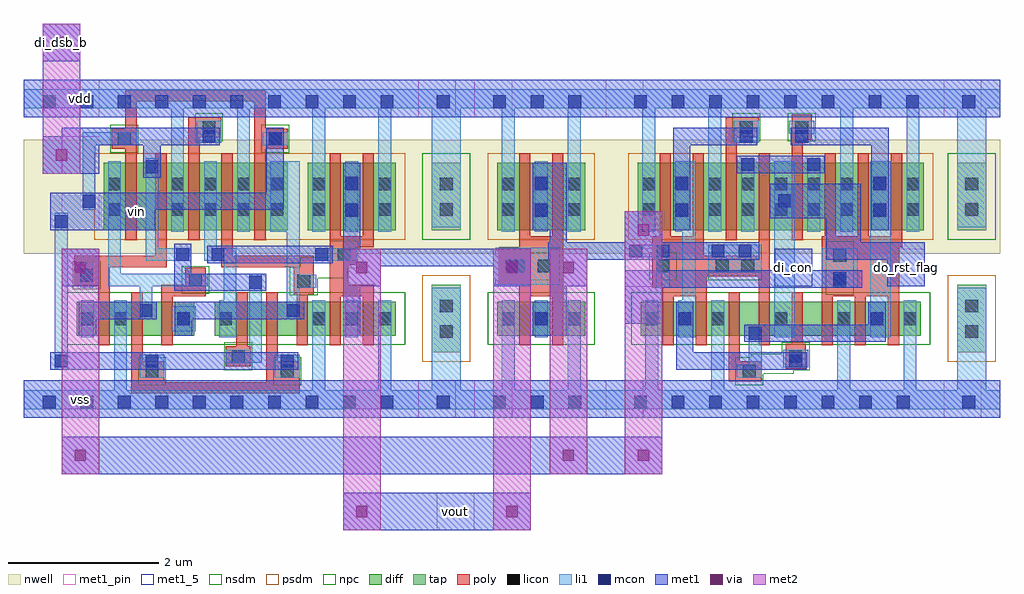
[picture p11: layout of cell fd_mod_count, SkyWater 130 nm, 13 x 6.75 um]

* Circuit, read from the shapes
.subckt fd_mod_count di_con di_dsb_b do_rst_flag vdd vin vout vss
XM1 vss sc_xnor2_0/a sc_dff_r_2/sky130_fd_pr__nfet_01v8_sc_dff_r_m3_10/D vss sky130_fd_pr__nfet_01v8 w=0.45 l=0.15
XM2 n1 vin vss vss sky130_fd_pr__nfet_01v8 w=0.45 l=0.15
XM3 sc_dff_r_2/sky130_fd_pr__nfet_01v8_sc_dff_r_m5_8/D sc_dff_r_2/sky130_fd_pr__nfet_01v8_sc_dff_r_m3_10/D n1 vss sky130_fd_pr__nfet_01v8 w=0.45 l=0.15
XM4 sc_dff_r_2/sky130_fd_pr__nfet_01v8_sc_dff_r_m8_5/D di_dsb_b sc_dff_r_2/sky130_fd_pr__nfet_01v8_sc_dff_r_m13_0/D vss sky130_fd_pr__nfet_01v8 w=0.45 l=0.15
XM5 sc_dff_r_2/sky130_fd_pr__nfet_01v8_sc_dff_r_m9_4/D vin sc_dff_r_2/sky130_fd_pr__nfet_01v8_sc_dff_r_m8_5/D vss sky130_fd_pr__nfet_01v8 w=0.45 l=0.15
XM6 vss sc_dff_r_2/sky130_fd_pr__nfet_01v8_sc_dff_r_m5_8/D sc_dff_r_2/sky130_fd_pr__nfet_01v8_sc_dff_r_m9_4/D vss sky130_fd_pr__nfet_01v8 w=0.45 l=0.15
XM7 vout sc_dff_r_2/sky130_fd_pr__nfet_01v8_sc_dff_r_m13_0/D vss vss sky130_fd_pr__nfet_01v8 w=0.45 l=0.15 m=2
XM8 sc_xnor2_0/a vout vss vss sky130_fd_pr__nfet_01v8 w=0.45 l=0.15 m=2
XM9 sc_xnor2_0/sky130_fd_pr__nfet_01v8_scc_inv_m2_2/D0 sc_xnor2_0/a vss vss sky130_fd_pr__nfet_01v8 w=0.45 l=0.15 m=2
XM10 sc_xnor2_0/sky130_fd_pr__nfet_01v8_sc_xnor2_m8_4/D sc_xnor2_0/sky130_fd_pr__nfet_01v8_scc_inv_m2_0/D0 vss vss sky130_fd_pr__nfet_01v8 w=0.45 l=0.15
XM11 do_rst_flag sc_xnor2_0/a sc_xnor2_0/sky130_fd_pr__nfet_01v8_sc_xnor2_m8_4/D vss sky130_fd_pr__nfet_01v8 w=0.45 l=0.15
XM12 sc_xnor2_0/sky130_fd_pr__nfet_01v8_sc_xnor2_m7_5/D sc_xnor2_0/sky130_fd_pr__nfet_01v8_scc_inv_m2_2/D0 do_rst_flag vss sky130_fd_pr__nfet_01v8 w=0.45 l=0.15
XM13 vss di_con sc_xnor2_0/sky130_fd_pr__nfet_01v8_sc_xnor2_m7_5/D vss sky130_fd_pr__nfet_01v8 w=0.45 l=0.15
XM14 sc_xnor2_0/sky130_fd_pr__nfet_01v8_scc_inv_m2_0/D0 di_con vss vss sky130_fd_pr__nfet_01v8 w=0.45 l=0.15 m=2
XM15 sc_dff_r_2/sky130_fd_pr__pfet_01v8_sc_dff_r_m1_12/D vin sc_dff_r_2/sky130_fd_pr__nfet_01v8_sc_dff_r_m3_10/D vdd sky130_fd_pr__pfet_01v8 w=0.9 l=0.15
XM16 vdd sc_xnor2_0/a sc_dff_r_2/sky130_fd_pr__pfet_01v8_sc_dff_r_m1_12/D vdd sky130_fd_pr__pfet_01v8 w=0.9 l=0.15
XM17 sc_dff_r_2/sky130_fd_pr__nfet_01v8_sc_dff_r_m13_0/D di_dsb_b vdd vdd sky130_fd_pr__pfet_01v8 w=0.9 l=0.15
XM18 vdd sc_dff_r_2/sky130_fd_pr__nfet_01v8_sc_dff_r_m5_8/D sc_dff_r_2/sky130_fd_pr__nfet_01v8_sc_dff_r_m13_0/D vdd sky130_fd_pr__pfet_01v8 w=0.9 l=0.15
XM19 sc_dff_r_2/sky130_fd_pr__nfet_01v8_sc_dff_r_m5_8/D vin vdd vdd sky130_fd_pr__pfet_01v8 w=0.9 l=0.15
XM20 vout sc_dff_r_2/sky130_fd_pr__nfet_01v8_sc_dff_r_m13_0/D vdd vdd sky130_fd_pr__pfet_01v8 w=0.9 l=0.15 m=2
XM21 sc_xnor2_0/a vout vdd vdd sky130_fd_pr__pfet_01v8 w=0.9 l=0.15 m=2
XM22 sc_xnor2_0/sky130_fd_pr__nfet_01v8_scc_inv_m2_2/D0 sc_xnor2_0/a vdd vdd sky130_fd_pr__pfet_01v8 w=0.9 l=0.15 m=2
XM23 sc_xnor2_0/sky130_fd_pr__pfet_01v8_sc_xnor2_m1_11/D sc_xnor2_0/sky130_fd_pr__nfet_01v8_scc_inv_m2_2/D0 vdd vdd sky130_fd_pr__pfet_01v8 w=0.9 l=0.15
XM24 do_rst_flag sc_xnor2_0/a sc_xnor2_0/sky130_fd_pr__pfet_01v8_sc_xnor2_m1_11/D vdd sky130_fd_pr__pfet_01v8 w=0.9 l=0.15
XM25 sc_xnor2_0/sky130_fd_pr__pfet_01v8_sc_xnor2_m1_11/D sc_xnor2_0/sky130_fd_pr__nfet_01v8_scc_inv_m2_0/D0 do_rst_flag vdd sky130_fd_pr__pfet_01v8 w=0.9 l=0.15
XM26 vdd di_con sc_xnor2_0/sky130_fd_pr__pfet_01v8_sc_xnor2_m1_11/D vdd sky130_fd_pr__pfet_01v8 w=0.9 l=0.15
XM27 sc_xnor2_0/sky130_fd_pr__nfet_01v8_scc_inv_m2_0/D0 di_con vdd vdd sky130_fd_pr__pfet_01v8 w=0.9 l=0.15 m=2
.ends

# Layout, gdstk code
from math import pi, radians
import gdstk
lib = gdstk.Library(unit=1e-6, precision=1e-09)
def R(c, l, rs):  # rectangles x0, y0, x1, y1
    for r in rs: c.add(gdstk.rectangle(r[:2], r[2:], *l))
def A(c, l, x, y, w, h, nx, ny, dx, dy):  # array of equal rectangles
    R(c, l, [(x+i*dx, y+j*dy, x+i*dx+w, y+j*dy+h) for i in range(nx) for j in range(ny)])
nwell = (64, 20)
diff = (65, 20)
tap = (65, 44)
poly = (66, 20)
licon = (66, 44)
li1 = (67, 20)
mcon = (67, 44)
met1_5 = (68, 5)
met1_pin = (68, 16)
met1 = (68, 20)
via = (68, 44)
met2 = (69, 20)
nsdm = (93, 44)
psdm = (94, 20)
npc = (95, 20)

sky130_fd_pr__nfet_01v8_ = lib.new_cell('sky130_fd_pr__nfet_01v8_scc_inv_m2')
R(sky130_fd_pr__nfet_01v8_, diff, [(7.265,-4.22,8.435,-3.77)])
R(sky130_fd_pr__nfet_01v8_, poly, [(7.555,-4.35,7.705,-3.695), (7.995,-4.35,8.145,-3.695), (7.555,-3.695,8.145,-3.545)])
A(sky130_fd_pr__nfet_01v8_, licon, 7.325, -4.08, 0.17, 0.17, 3, 1, 0.44, 0)
A(sky130_fd_pr__nfet_01v8_, li1, 7.325, -4.24, 0.17, 0.49, 3, 1, 0.44, 0)
R(sky130_fd_pr__nfet_01v8_, mcon, [(7.765,-4.08,7.935,-3.91)])
R(sky130_fd_pr__nfet_01v8_, met1, [(7.735,-4.22,7.965,-3.77)])
R(sky130_fd_pr__nfet_01v8_, nsdm, [(7.14,-4.345,8.56,-3.645)])
sky130_fd_pr__nfet_01v8_.add(gdstk.Label('D0', (7.85,-3.995), layer=67, texttype=5))
sky130_fd_pr__nfet_01v8_.add(gdstk.Label('S0', (7.41,-3.995), layer=67, texttype=5))
sky130_fd_pr__nfet_01v8_.add(gdstk.Label('D1', (7.85,-3.995), layer=67, texttype=5))
sky130_fd_pr__nfet_01v8_.add(gdstk.Label('S1', (8.29,-3.995), layer=67, texttype=5))

sky130_fd_pr__pfet_01v8_ = lib.new_cell('sky130_fd_pr__pfet_01v8_scc_inv_m1')
R(sky130_fd_pr__pfet_01v8_, nwell, [(6.85,-4.65,8.38,-3.13)])
R(sky130_fd_pr__pfet_01v8_, diff, [(7.03,-4.34,8.2,-3.44)])
R(sky130_fd_pr__pfet_01v8_, poly, [(7.32,-4.565,7.91,-4.415), (7.32,-4.415,7.47,-3.31), (7.76,-4.415,7.91,-3.31)])
A(sky130_fd_pr__pfet_01v8_, licon, 7.09, -4.145, 0.17, 0.17, 3, 2, 0.44, 0.34)
A(sky130_fd_pr__pfet_01v8_, li1, 7.09, -4.36, 0.17, 0.94, 3, 1, 0.44, 0)
R(sky130_fd_pr__pfet_01v8_, mcon, [(7.53,-4.155,7.7,-3.985), (7.53,-3.795,7.7,-3.625)])
R(sky130_fd_pr__pfet_01v8_, met1, [(7.5,-4.34,7.73,-3.44)])
R(sky130_fd_pr__pfet_01v8_, psdm, [(6.905,-4.465,8.325,-3.315)])
sky130_fd_pr__pfet_01v8_.add(gdstk.Label('D0', (7.615,-3.89), layer=67, texttype=5))
sky130_fd_pr__pfet_01v8_.add(gdstk.Label('S0', (7.175,-3.89), layer=67, texttype=5))
sky130_fd_pr__pfet_01v8_.add(gdstk.Label('D1', (7.615,-3.89), layer=67, texttype=5))
sky130_fd_pr__pfet_01v8_.add(gdstk.Label('S1', (8.055,-3.89), layer=67, texttype=5))

c_sky130_fd_pr__nfet_01v8_ = lib.new_cell('sky130_fd_pr__nfet_01v8_sc_xnor2_m8')
R(c_sky130_fd_pr__nfet_01v8_, diff, [(-0.325,-0.225,0.365,0.225)])
R(c_sky130_fd_pr__nfet_01v8_, poly, [(-0.075,-0.355,0.075,0.355)])
R(c_sky130_fd_pr__nfet_01v8_, licon, [(0.135,-0.085,0.305,0.085)])
R(c_sky130_fd_pr__nfet_01v8_, li1, [(0.135,-0.245,0.305,0.245)])
R(c_sky130_fd_pr__nfet_01v8_, nsdm, [(-0.45,-0.35,0.49,0.35)])
c_sky130_fd_pr__nfet_01v8_.add(gdstk.Label('D', (-0.22,0), layer=65, texttype=6))
c_sky130_fd_pr__nfet_01v8_.add(gdstk.Label('S', (0.22,0), layer=67, texttype=5))

c_sky130_fd_pr__nfet_01v8__ = lib.new_cell('sky130_fd_pr__nfet_01v8_sc_xnor2_m7')
R(c_sky130_fd_pr__nfet_01v8__, diff, [(-0.325,-0.225,0.365,0.225)])
R(c_sky130_fd_pr__nfet_01v8__, poly, [(-0.075,-0.355,0.075,0.355)])
R(c_sky130_fd_pr__nfet_01v8__, licon, [(0.135,-0.085,0.305,0.085)])
R(c_sky130_fd_pr__nfet_01v8__, li1, [(0.135,-0.245,0.305,0.245)])
R(c_sky130_fd_pr__nfet_01v8__, nsdm, [(-0.45,-0.35,0.49,0.35)])
c_sky130_fd_pr__nfet_01v8__.add(gdstk.Label('D', (-0.22,0), layer=65, texttype=6))
c_sky130_fd_pr__nfet_01v8__.add(gdstk.Label('S', (0.22,0), layer=67, texttype=5))

c_sky130_fd_pr__nfet_01v8___ = lib.new_cell('sky130_fd_pr__nfet_01v8_sc_xnor2_m6')
R(c_sky130_fd_pr__nfet_01v8___, diff, [(-0.365,-0.225,0.325,0.225)])
R(c_sky130_fd_pr__nfet_01v8___, poly, [(-0.075,-0.355,0.075,0.355)])
R(c_sky130_fd_pr__nfet_01v8___, licon, [(-0.305,-0.085,-0.135,0.085)])
R(c_sky130_fd_pr__nfet_01v8___, li1, [(-0.305,-0.245,-0.135,0.245)])
R(c_sky130_fd_pr__nfet_01v8___, nsdm, [(-0.49,-0.35,0.45,0.35)])
c_sky130_fd_pr__nfet_01v8___.add(gdstk.Label('D', (-0.22,0), layer=67, texttype=5))
c_sky130_fd_pr__nfet_01v8___.add(gdstk.Label('S', (0.22,0), layer=65, texttype=6))

c_sky130_fd_pr__nfet_01v8____ = lib.new_cell('sky130_fd_pr__nfet_01v8_sc_xnor2_m5')
R(c_sky130_fd_pr__nfet_01v8____, diff, [(-0.365,-0.225,0.325,0.225)])
R(c_sky130_fd_pr__nfet_01v8____, poly, [(-0.075,-0.355,0.075,0.355)])
R(c_sky130_fd_pr__nfet_01v8____, licon, [(-0.305,-0.085,-0.135,0.085)])
R(c_sky130_fd_pr__nfet_01v8____, li1, [(-0.305,-0.245,-0.135,0.245)])
R(c_sky130_fd_pr__nfet_01v8____, nsdm, [(-0.49,-0.35,0.45,0.35)])
c_sky130_fd_pr__nfet_01v8____.add(gdstk.Label('D', (-0.22,0), layer=67, texttype=5))
c_sky130_fd_pr__nfet_01v8____.add(gdstk.Label('S', (0.22,0), layer=65, texttype=6))

c_sky130_fd_pr__pfet_01v8_ = lib.new_cell('sky130_fd_pr__pfet_01v8_sc_xnor2_m4')
R(c_sky130_fd_pr__pfet_01v8_, nwell, [(-0.545,-0.76,0.545,0.76)])
R(c_sky130_fd_pr__pfet_01v8_, diff, [(-0.365,-0.45,0.365,0.45)])
R(c_sky130_fd_pr__pfet_01v8_, poly, [(-0.075,-0.58,0.075,0.58)])
R(c_sky130_fd_pr__pfet_01v8_, licon, [(-0.305,-0.255,-0.135,-0.085), (0.135,-0.255,0.305,-0.085), (-0.305,0.085,-0.135,0.255), (0.135,0.085,0.305,0.255)])
R(c_sky130_fd_pr__pfet_01v8_, li1, [(-0.305,-0.47,-0.135,0.47), (0.135,-0.47,0.305,0.47)])
R(c_sky130_fd_pr__pfet_01v8_, psdm, [(-0.49,-0.575,0.49,0.575)])
c_sky130_fd_pr__pfet_01v8_.add(gdstk.Label('D', (-0.22,0), layer=67, texttype=5))
c_sky130_fd_pr__pfet_01v8_.add(gdstk.Label('S', (0.22,0), layer=67, texttype=5))

c_sky130_fd_pr__pfet_01v8__ = lib.new_cell('sky130_fd_pr__pfet_01v8_sc_xnor2_m3')
R(c_sky130_fd_pr__pfet_01v8__, nwell, [(-0.545,-0.76,0.545,0.76)])
R(c_sky130_fd_pr__pfet_01v8__, diff, [(-0.365,-0.45,0.365,0.45)])
R(c_sky130_fd_pr__pfet_01v8__, poly, [(-0.075,-0.58,0.075,0.58)])
R(c_sky130_fd_pr__pfet_01v8__, licon, [(-0.305,-0.255,-0.135,-0.085), (0.135,-0.255,0.305,-0.085), (-0.305,0.085,-0.135,0.255), (0.135,0.085,0.305,0.255)])
R(c_sky130_fd_pr__pfet_01v8__, li1, [(-0.305,-0.47,-0.135,0.47), (0.135,-0.47,0.305,0.47)])
R(c_sky130_fd_pr__pfet_01v8__, psdm, [(-0.49,-0.575,0.49,0.575)])
c_sky130_fd_pr__pfet_01v8__.add(gdstk.Label('D', (-0.22,0), layer=67, texttype=5))
c_sky130_fd_pr__pfet_01v8__.add(gdstk.Label('S', (0.22,0), layer=67, texttype=5))

c_sky130_fd_pr__pfet_01v8___ = lib.new_cell('sky130_fd_pr__pfet_01v8_sc_xnor2_m2')
R(c_sky130_fd_pr__pfet_01v8___, nwell, [(-0.545,-0.76,0.545,0.76)])
R(c_sky130_fd_pr__pfet_01v8___, diff, [(-0.365,-0.45,0.365,0.45)])
R(c_sky130_fd_pr__pfet_01v8___, poly, [(-0.075,-0.58,0.075,0.58)])
R(c_sky130_fd_pr__pfet_01v8___, licon, [(-0.305,-0.255,-0.135,-0.085), (0.135,-0.255,0.305,-0.085), (-0.305,0.085,-0.135,0.255), (0.135,0.085,0.305,0.255)])
R(c_sky130_fd_pr__pfet_01v8___, li1, [(-0.305,-0.47,-0.135,0.47), (0.135,-0.47,0.305,0.47)])
R(c_sky130_fd_pr__pfet_01v8___, psdm, [(-0.49,-0.575,0.49,0.575)])
c_sky130_fd_pr__pfet_01v8___.add(gdstk.Label('D', (-0.22,0), layer=67, texttype=5))
c_sky130_fd_pr__pfet_01v8___.add(gdstk.Label('S', (0.22,0), layer=67, texttype=5))

c_sky130_fd_pr__pfet_01v8____ = lib.new_cell('sky130_fd_pr__pfet_01v8_sc_xnor2_m1')
R(c_sky130_fd_pr__pfet_01v8____, nwell, [(-0.545,-0.76,0.545,0.76)])
R(c_sky130_fd_pr__pfet_01v8____, diff, [(-0.365,-0.45,0.365,0.45)])
R(c_sky130_fd_pr__pfet_01v8____, poly, [(-0.075,-0.58,0.075,0.58)])
R(c_sky130_fd_pr__pfet_01v8____, licon, [(-0.305,-0.255,-0.135,-0.085), (0.135,-0.255,0.305,-0.085), (-0.305,0.085,-0.135,0.255), (0.135,0.085,0.305,0.255)])
R(c_sky130_fd_pr__pfet_01v8____, li1, [(-0.305,-0.47,-0.135,0.47), (0.135,-0.47,0.305,0.47)])
R(c_sky130_fd_pr__pfet_01v8____, psdm, [(-0.49,-0.575,0.49,0.575)])
c_sky130_fd_pr__pfet_01v8____.add(gdstk.Label('D', (-0.22,0), layer=67, texttype=5))
c_sky130_fd_pr__pfet_01v8____.add(gdstk.Label('S', (0.22,0), layer=67, texttype=5))

sc_xnor2 = lib.new_cell('sc_xnor2')
R(sc_xnor2, nwell, [(0.5,-5.815,5,-4.295)])
R(sc_xnor2, poly, [(2.135,-7.515,2.575,-7.245), (2.895,-7.345,3.165,-7.015), (2.135,-7.245,2.285,-7.035), (3.375,-6.38,3.965,-6.23), (2.535,-6.325,2.685,-6.115), (1.12,-6.265,1.845,-6.115), (3.375,-6.23,4.405,-5.73), (1.12,-6.115,2.685,-5.845), (1.12,-5.845,1.805,-5.58), (2.535,-5.845,2.685,-5.635), (3.375,-5.73,4.005,-5.58), (2.095,-4.475,2.245,-4.265), (2.975,-4.475,3.125,-4.295), (2.975,-4.295,3.245,-3.965), (2.095,-4.265,2.535,-3.995)])
R(sc_xnor2, licon, [(2.325,-7.465,2.495,-7.295), (2.945,-7.265,3.115,-7.095), (3.53,-6.26,3.7,-6.09), (1.175,-6.065,1.345,-5.895), (1.965,-6.065,2.135,-5.895), (2.305,-6.065,2.475,-5.895), (3.53,-5.92,3.7,-5.75), (2.285,-4.215,2.455,-4.045), (3.025,-4.215,3.195,-4.045)])
R(sc_xnor2, li1, [(0.5,-7.885,5,-7.635), (1.025,-7.635,1.195,-6.925), (1.905,-7.635,2.075,-6.925), (3.585,-7.635,3.755,-6.925), (4.465,-7.635,4.635,-6.925), (2.245,-7.465,2.575,-7.295), (2.865,-7.33,3.195,-7.095), (2.405,-7.295,2.575,-6.79), (1.52,-6.925,1.695,-4.585), (2.745,-6.925,3.015,-4.585), (4.025,-6.925,4.295,-4.585), (1.17,-6.265,1.35,-5.865), (3.375,-6.265,3.855,-5.74), (1.865,-6.065,2.575,-5.695), (0.81,-5.865,1.35,-5.695), (2.305,-4.71,2.475,-4.54), (3.185,-4.71,3.355,-4.54), (0.985,-4.585,1.155,-3.875), (1.865,-4.585,2.035,-3.875), (3.625,-4.585,3.795,-3.875), (4.505,-4.585,4.675,-3.875), (2.205,-4.34,2.535,-4.045), (3.025,-4.34,3.195,-4.215), (2.945,-4.215,3.275,-4.045), (0.5,-3.875,5,-3.625)])
A(sc_xnor2, mcon, 0.875, -7.875, 0.17, 0.17, 8, 1, 0.5, 0)
A(sc_xnor2, mcon, 0.875, -3.875, 0.17, 0.17, 6, 1, 0.5, 0)
R(sc_xnor2, mcon, [(2.945,-7.33,3.115,-7.16), (2.405,-6.96,2.575,-6.79), (3.53,-6.235,3.7,-6.065), (0.815,-5.865,0.985,-5.695), (1.175,-5.865,1.345,-5.695), (1.91,-5.865,2.08,-5.695), (2.27,-5.865,2.44,-5.695), (2.795,-5.195,2.965,-5.025), (2.305,-4.71,2.475,-4.54), (3.185,-4.71,3.355,-4.54), (2.285,-4.34,2.455,-4.17), (3.025,-4.34,3.195,-4.17), (4,-3.875,4.17,-3.705), (4.5,-3.875,4.67,-3.705)])
R(sc_xnor2, met1_5, [(2.75,-6.25,3.25,-5.75)])
R(sc_xnor2, met1_pin, [(0.5,-8,1,-7.5), (0.75,-6.75,1.25,-6.25), (4.25,-6.25,4.75,-5.75), (0.75,-5.75,1.25,-5.25), (0.5,-4,1,-3.5)])
R(sc_xnor2, met1, [(0.5,-8,5,-7.5), (1.435,-7.36,3.175,-7.13), (1.435,-7.13,1.665,-6.905), (2.345,-6.99,4.225,-6.76), (0.75,-6.75,1.25,-6.265), (0.75,-6.265,3.915,-6.035), (4.25,-6.25,4.75,-5.895), (2.75,-6.035,3.25,-5.75), (0.75,-5.895,2.545,-5.665), (3.435,-5.895,4.75,-5.665), (0.75,-5.665,1.25,-5.25), (3.435,-5.665,3.895,-5.34), (2.685,-5.34,3.895,-4.88), (2.245,-4.74,3.415,-4.51), (1.395,-4.605,1.625,-4.37), (4.035,-4.605,4.265,-4.37), (1.395,-4.37,2.515,-4.14), (2.965,-4.37,4.265,-4.14), (0.5,-4,5,-3.5)])
R(sc_xnor2, npc, [(2.225,-7.565,2.595,-7.415), (2.225,-7.415,3.005,-7.365), (2.225,-7.365,3.215,-7.195), (2.435,-7.195,3.215,-7.145), (2.845,-7.145,3.215,-6.995), (3.43,-6.36,3.8,-5.65), (1.075,-6.165,1.445,-5.795), (1.865,-6.165,2.575,-5.795), (2.185,-4.315,2.555,-3.945), (2.925,-4.315,3.295,-3.945)])
sc_xnor2.add(gdstk.Reference(sky130_fd_pr__nfet_01v8_, (-3.74,-2.685)))
sc_xnor2.add(gdstk.Reference(sky130_fd_pr__pfet_01v8_, (-3.465,-1.165)))
sc_xnor2.add(gdstk.Reference(sky130_fd_pr__nfet_01v8_, (-6.3,-2.685)))
sc_xnor2.add(gdstk.Reference(sky130_fd_pr__pfet_01v8_, (-6.105,-1.165)))
sc_xnor2.add(gdstk.Reference(c_sky130_fd_pr__nfet_01v8_, (2.21,-6.68), rotation=pi))
sc_xnor2.add(gdstk.Reference(c_sky130_fd_pr__nfet_01v8__, (3.45,-6.68)))
sc_xnor2.add(gdstk.Reference(c_sky130_fd_pr__nfet_01v8___, (2.61,-6.68), rotation=pi))
sc_xnor2.add(gdstk.Reference(c_sky130_fd_pr__nfet_01v8____, (3.05,-6.68)))
sc_xnor2.add(gdstk.Reference(c_sky130_fd_pr__pfet_01v8_, (3.05,-5.055)))
sc_xnor2.add(gdstk.Reference(c_sky130_fd_pr__pfet_01v8__, (2.61,-5.055), rotation=pi))
sc_xnor2.add(gdstk.Reference(c_sky130_fd_pr__pfet_01v8___, (3.49,-5.055)))
sc_xnor2.add(gdstk.Reference(c_sky130_fd_pr__pfet_01v8____, (2.17,-5.055), rotation=pi))
sc_xnor2.add(gdstk.Label('b', (3,-6), layer=68, texttype=5))
sc_xnor2.add(gdstk.Label('vdd', (0.75,-3.75), layer=68, texttype=5))
sc_xnor2.add(gdstk.Label('vss', (0.75,-7.75), layer=68, texttype=5))
sc_xnor2.add(gdstk.Label('a', (1,-5.5), layer=68, texttype=5))
sc_xnor2.add(gdstk.Label('b', (1,-6.5), layer=68, texttype=5))
sc_xnor2.add(gdstk.Label('y', (4.5,-6), layer=68, texttype=5))

sc_not = lib.new_cell('sc_not')
R(sc_not, nwell, [(2.75,-3.815,4.5,-2.295)])
R(sc_not, poly, [(3.075,-4.23,3.935,-3.73)])
R(sc_not, licon, [(3.25,-4.065,3.42,-3.895), (3.59,-4.065,3.76,-3.895)])
R(sc_not, li1, [(2.75,-5.885,4.5,-5.635), (3.115,-5.635,3.285,-4.925), (3.995,-5.635,4.165,-4.925), (3.03,-4.225,3.885,-4.145), (3,-4.145,3.885,-3.815), (3.03,-3.815,3.885,-3.735), (3.115,-2.585,3.285,-1.875), (3.995,-2.585,4.165,-1.875), (2.75,-1.875,4.5,-1.625)])
A(sc_not, mcon, 3, -5.875, 0.17, 0.17, 3, 2, 0.5, 4)
R(sc_not, mcon, [(3.165,-4.065,3.335,-3.895)])
R(sc_not, met1_pin, [(2.75,-6,3.25,-5.5), (3,-4.25,3.5,-3.75), (3.75,-4.25,4.25,-3.75), (2.75,-2,3.25,-1.5)])
R(sc_not, met1, [(2.75,-6,4.5,-5.5), (3.75,-4.905,3.98,-4.25), (3,-4.25,3.5,-3.75), (3.75,-4.25,4.25,-3.75), (3.75,-3.75,3.98,-2.605), (2.75,-2,4.5,-1.5)])
R(sc_not, npc, [(3.15,-4.165,3.86,-3.795)])
sc_not.add(gdstk.Reference(sky130_fd_pr__pfet_01v8_, (-3.975,0.835)))
sc_not.add(gdstk.Reference(sky130_fd_pr__nfet_01v8_, (-4.21,-0.685)))
sc_not.add(gdstk.Label('vdd', (3,-1.75), layer=68, texttype=5))
sc_not.add(gdstk.Label('vss', (3,-5.75), layer=68, texttype=5))
sc_not.add(gdstk.Label('x', (3.25,-4), layer=68, texttype=5))
sc_not.add(gdstk.Label('y', (4,-4), layer=68, texttype=5))

c_sky130_fd_pr__nfet_01v8_____ = lib.new_cell('sky130_fd_pr__nfet_01v8_sc_dff_r_m13')
R(c_sky130_fd_pr__nfet_01v8_____, diff, [(-0.365,-0.225,0.325,0.225)])
R(c_sky130_fd_pr__nfet_01v8_____, poly, [(-0.075,-0.355,0.075,0.355)])
R(c_sky130_fd_pr__nfet_01v8_____, licon, [(-0.305,-0.085,-0.135,0.085)])
R(c_sky130_fd_pr__nfet_01v8_____, li1, [(-0.305,-0.245,-0.135,0.245)])
R(c_sky130_fd_pr__nfet_01v8_____, nsdm, [(-0.49,-0.35,0.45,0.35)])
c_sky130_fd_pr__nfet_01v8_____.add(gdstk.Label('D', (-0.22,0), layer=67, texttype=5))
c_sky130_fd_pr__nfet_01v8_____.add(gdstk.Label('S', (0.22,0), layer=65, texttype=6))

c_sky130_fd_pr__pfet_01v8_____ = lib.new_cell('sky130_fd_pr__pfet_01v8_sc_dff_r_m12')
R(c_sky130_fd_pr__pfet_01v8_____, nwell, [(-0.545,-0.76,0.545,0.76)])
R(c_sky130_fd_pr__pfet_01v8_____, diff, [(-0.365,-0.45,0.365,0.45)])
R(c_sky130_fd_pr__pfet_01v8_____, poly, [(-0.075,-0.58,0.075,0.58)])
R(c_sky130_fd_pr__pfet_01v8_____, licon, [(-0.305,-0.255,-0.135,-0.085), (0.135,-0.255,0.305,-0.085), (-0.305,0.085,-0.135,0.255), (0.135,0.085,0.305,0.255)])
R(c_sky130_fd_pr__pfet_01v8_____, li1, [(-0.305,-0.47,-0.135,0.47), (0.135,-0.47,0.305,0.47)])
R(c_sky130_fd_pr__pfet_01v8_____, psdm, [(-0.49,-0.575,0.49,0.575)])
c_sky130_fd_pr__pfet_01v8_____.add(gdstk.Label('D', (-0.22,0), layer=67, texttype=5))
c_sky130_fd_pr__pfet_01v8_____.add(gdstk.Label('S', (0.22,0), layer=67, texttype=5))

c_sky130_fd_pr__nfet_01v8______ = lib.new_cell('sky130_fd_pr__nfet_01v8_sc_dff_r_m9')
R(c_sky130_fd_pr__nfet_01v8______, diff, [(-0.325,-0.225,0.365,0.225)])
R(c_sky130_fd_pr__nfet_01v8______, poly, [(-0.075,-0.355,0.075,0.355)])
R(c_sky130_fd_pr__nfet_01v8______, licon, [(0.135,-0.085,0.305,0.085)])
R(c_sky130_fd_pr__nfet_01v8______, li1, [(0.135,-0.245,0.305,0.245)])
R(c_sky130_fd_pr__nfet_01v8______, nsdm, [(-0.45,-0.35,0.49,0.35)])
c_sky130_fd_pr__nfet_01v8______.add(gdstk.Label('D', (-0.22,0), layer=65, texttype=6))
c_sky130_fd_pr__nfet_01v8______.add(gdstk.Label('S', (0.22,0), layer=67, texttype=5))

c_sky130_fd_pr__nfet_01v8_______ = lib.new_cell('sky130_fd_pr__nfet_01v8_sc_dff_r_m8')
R(c_sky130_fd_pr__nfet_01v8_______, diff, [(-0.325,-0.225,0.325,0.225)])
R(c_sky130_fd_pr__nfet_01v8_______, poly, [(-0.075,-0.355,0.075,0.355)])
R(c_sky130_fd_pr__nfet_01v8_______, nsdm, [(-0.45,-0.35,0.45,0.35)])
c_sky130_fd_pr__nfet_01v8_______.add(gdstk.Label('D', (-0.22,0), layer=65, texttype=6))
c_sky130_fd_pr__nfet_01v8_______.add(gdstk.Label('S', (0.22,0), layer=65, texttype=6))

c_sky130_fd_pr__pfet_01v8______ = lib.new_cell('sky130_fd_pr__pfet_01v8_sc_dff_r_m7')
R(c_sky130_fd_pr__pfet_01v8______, nwell, [(-0.545,-0.76,0.545,0.76)])
R(c_sky130_fd_pr__pfet_01v8______, diff, [(-0.365,-0.45,0.365,0.45)])
R(c_sky130_fd_pr__pfet_01v8______, poly, [(-0.075,-0.58,0.075,0.58)])
R(c_sky130_fd_pr__pfet_01v8______, licon, [(-0.305,-0.255,-0.135,-0.085), (0.135,-0.255,0.305,-0.085), (-0.305,0.085,-0.135,0.255), (0.135,0.085,0.305,0.255)])
R(c_sky130_fd_pr__pfet_01v8______, li1, [(-0.305,-0.47,-0.135,0.47), (0.135,-0.47,0.305,0.47)])
R(c_sky130_fd_pr__pfet_01v8______, psdm, [(-0.49,-0.575,0.49,0.575)])
c_sky130_fd_pr__pfet_01v8______.add(gdstk.Label('D', (-0.22,0), layer=67, texttype=5))
c_sky130_fd_pr__pfet_01v8______.add(gdstk.Label('S', (0.22,0), layer=67, texttype=5))

c_sky130_fd_pr__nfet_01v8________ = lib.new_cell('sky130_fd_pr__nfet_01v8_sc_dff_r_m6')
R(c_sky130_fd_pr__nfet_01v8________, diff, [(-0.325,-0.225,0.365,0.225)])
R(c_sky130_fd_pr__nfet_01v8________, poly, [(-0.075,-0.355,0.075,0.355)])
R(c_sky130_fd_pr__nfet_01v8________, licon, [(0.135,-0.085,0.305,0.085)])
R(c_sky130_fd_pr__nfet_01v8________, li1, [(0.135,-0.245,0.305,0.245)])
R(c_sky130_fd_pr__nfet_01v8________, nsdm, [(-0.45,-0.35,0.49,0.35)])
c_sky130_fd_pr__nfet_01v8________.add(gdstk.Label('S', (0.22,0), layer=67, texttype=5))

c_sky130_fd_pr__nfet_01v8_________ = lib.new_cell('sky130_fd_pr__nfet_01v8_sc_dff_r_m5')
R(c_sky130_fd_pr__nfet_01v8_________, diff, [(-0.365,-0.225,0.325,0.225)])
R(c_sky130_fd_pr__nfet_01v8_________, poly, [(-0.075,-0.355,0.075,0.355)])
R(c_sky130_fd_pr__nfet_01v8_________, licon, [(-0.305,-0.085,-0.135,0.085)])
R(c_sky130_fd_pr__nfet_01v8_________, li1, [(-0.385,-0.165,-0.055,0.165)])
R(c_sky130_fd_pr__nfet_01v8_________, mcon, [(-0.305,-0.085,-0.135,0.085)])
R(c_sky130_fd_pr__nfet_01v8_________, met1, [(-0.335,-0.225,-0.105,0.225)])
R(c_sky130_fd_pr__nfet_01v8_________, nsdm, [(-0.49,-0.35,0.45,0.35)])
c_sky130_fd_pr__nfet_01v8_________.add(gdstk.Label('D', (-0.22,0), layer=67, texttype=5))

c_sky130_fd_pr__pfet_01v8_______ = lib.new_cell('sky130_fd_pr__pfet_01v8_sc_dff_r_m4')
R(c_sky130_fd_pr__pfet_01v8_______, nwell, [(-0.545,-0.76,0.545,0.76)])
R(c_sky130_fd_pr__pfet_01v8_______, diff, [(-0.365,-0.45,0.365,0.45)])
R(c_sky130_fd_pr__pfet_01v8_______, poly, [(-0.075,-0.58,0.075,0.58)])
R(c_sky130_fd_pr__pfet_01v8_______, licon, [(-0.305,-0.255,-0.135,-0.085), (0.135,-0.255,0.305,-0.085), (-0.305,0.085,-0.135,0.255), (0.135,0.085,0.305,0.255)])
R(c_sky130_fd_pr__pfet_01v8_______, li1, [(-0.305,-0.47,-0.135,0.47), (0.135,-0.47,0.305,0.47)])
R(c_sky130_fd_pr__pfet_01v8_______, psdm, [(-0.49,-0.575,0.49,0.575)])
c_sky130_fd_pr__pfet_01v8_______.add(gdstk.Label('D', (-0.22,0), layer=67, texttype=5))
c_sky130_fd_pr__pfet_01v8_______.add(gdstk.Label('S', (0.22,0), layer=67, texttype=5))

c_sky130_fd_pr__nfet_01v8__________ = lib.new_cell('sky130_fd_pr__nfet_01v8_sc_dff_r_m3')
R(c_sky130_fd_pr__nfet_01v8__________, diff, [(-0.365,-0.225,0.365,0.225)])
R(c_sky130_fd_pr__nfet_01v8__________, poly, [(-0.075,-0.355,0.075,0.355)])
R(c_sky130_fd_pr__nfet_01v8__________, licon, [(-0.305,-0.085,-0.135,0.085), (0.135,-0.085,0.305,0.085)])
R(c_sky130_fd_pr__nfet_01v8__________, li1, [(-0.305,-0.245,-0.135,0.245), (0.135,-0.245,0.305,0.245)])
R(c_sky130_fd_pr__nfet_01v8__________, mcon, [(-0.305,-0.085,-0.135,0.085)])
R(c_sky130_fd_pr__nfet_01v8__________, met1, [(-0.335,-0.225,-0.105,0.225)])
R(c_sky130_fd_pr__nfet_01v8__________, nsdm, [(-0.49,-0.35,0.49,0.35)])
c_sky130_fd_pr__nfet_01v8__________.add(gdstk.Label('D', (-0.22,0), layer=67, texttype=5))
c_sky130_fd_pr__nfet_01v8__________.add(gdstk.Label('S', (0.22,0), layer=67, texttype=5))

c_sky130_fd_pr__pfet_01v8________ = lib.new_cell('sky130_fd_pr__pfet_01v8_sc_dff_r_m2')
R(c_sky130_fd_pr__pfet_01v8________, nwell, [(-0.545,-0.76,0.505,0.76)])
R(c_sky130_fd_pr__pfet_01v8________, diff, [(-0.365,-0.45,0.325,0.45)])
R(c_sky130_fd_pr__pfet_01v8________, poly, [(-0.075,-0.58,0.075,0.58)])
R(c_sky130_fd_pr__pfet_01v8________, licon, [(-0.305,-0.255,-0.135,-0.085), (-0.305,0.085,-0.135,0.255)])
R(c_sky130_fd_pr__pfet_01v8________, li1, [(-0.305,-0.47,-0.135,0.47)])
R(c_sky130_fd_pr__pfet_01v8________, psdm, [(-0.49,-0.575,0.45,0.575)])
c_sky130_fd_pr__pfet_01v8________.add(gdstk.Label('D', (-0.22,0), layer=67, texttype=5))
c_sky130_fd_pr__pfet_01v8________.add(gdstk.Label('S', (0.22,0), layer=65, texttype=6))

c_sky130_fd_pr__pfet_01v8_________ = lib.new_cell('sky130_fd_pr__pfet_01v8_sc_dff_r_m1')
R(c_sky130_fd_pr__pfet_01v8_________, nwell, [(-0.505,-0.76,0.545,0.76)])
R(c_sky130_fd_pr__pfet_01v8_________, diff, [(-0.325,-0.45,0.365,0.45)])
R(c_sky130_fd_pr__pfet_01v8_________, poly, [(-0.075,-0.58,0.075,0.58)])
R(c_sky130_fd_pr__pfet_01v8_________, licon, [(0.135,-0.255,0.305,-0.085), (0.135,0.085,0.305,0.255)])
R(c_sky130_fd_pr__pfet_01v8_________, li1, [(0.135,-0.47,0.305,0.47)])
R(c_sky130_fd_pr__pfet_01v8_________, psdm, [(-0.45,-0.575,0.49,0.575)])
c_sky130_fd_pr__pfet_01v8_________.add(gdstk.Label('D', (-0.22,0), layer=65, texttype=6))
c_sky130_fd_pr__pfet_01v8_________.add(gdstk.Label('S', (0.22,0), layer=67, texttype=5))

sc_dff_r = lib.new_cell('sc_dff_r')
R(sc_dff_r, nwell, [(3.75,-7.815,9,-6.295)])
R(sc_dff_r, poly, [(5.18,-9.675,7.42,-9.525), (5.18,-9.525,5.62,-9.245), (6.98,-9.525,7.42,-9.245), (6.44,-9.315,6.77,-9.045), (5.18,-9.245,5.33,-9.035), (6.98,-9.245,7.13,-9.03), (6.58,-9.045,6.73,-9.035), (5.58,-8.38,6.17,-8.23), (7.34,-8.355,7.61,-7.995), (4.74,-8.325,4.89,-8.235), (4.42,-8.235,4.89,-7.995), (5.9,-8.23,6.17,-8), (7.82,-8.23,8.07,-7.96), (4.42,-7.995,5.65,-7.845), (6.38,-7.995,7.61,-7.845), (7.82,-7.96,8.18,-7.69), (5.5,-7.845,5.65,-7.635), (6.38,-7.845,6.53,-7.635), (5.1,-6.475,5.25,-6.42), (5.94,-6.475,6.09,-6.265), (6.82,-6.475,6.97,-6.42), (4.92,-6.42,5.25,-6.15), (6.82,-6.42,7.26,-6.15), (5.94,-6.265,6.38,-5.995), (5.1,-6.15,5.25,-5.785), (6.82,-6.15,6.97,-5.785), (5.1,-5.785,6.97,-5.635)])
R(sc_dff_r, licon, [(5.37,-9.465,5.54,-9.295), (7.17,-9.465,7.34,-9.295), (6.52,-9.265,6.69,-9.095), (7.39,-8.265,7.56,-8.095), (5.95,-8.25,6.12,-8.08), (4.5,-8.185,4.67,-8.015), (7.93,-7.91,8.1,-7.74), (5,-6.37,5.17,-6.2), (7.01,-6.37,7.18,-6.2), (6.13,-6.215,6.3,-6.045)])
R(sc_dff_r, li1, [(3.75,-9.885,9,-9.635), (4.95,-9.635,5.12,-8.925), (7.59,-9.635,7.76,-8.925), (8.47,-9.635,8.64,-8.925), (5.29,-9.465,5.62,-9.16), (7.09,-9.465,7.42,-9.16), (4.16,-9.36,4.33,-7.27), (6.44,-9.265,6.92,-9.095), (6.75,-9.095,6.92,-8.08), (6.41,-8.925,6.58,-7.91), (5.29,-8.685,5.46,-8.25), (7.25,-8.685,7.42,-8.265), (4.5,-8.265,4.67,-7.935), (7.25,-8.265,7.64,-8.095), (4.87,-8.25,6.2,-8.08), (7.25,-8.095,7.42,-7.525), (4.87,-8.08,5.04,-7.525), (5.37,-7.91,5.98,-7.74), (6.15,-7.91,6.58,-7.74), (7.63,-7.91,8.18,-7.74), (5.37,-7.74,5.54,-6.54), (6.15,-7.74,6.32,-7.525), (7.2,-7.525,7.42,-6.585), (4.53,-7.23,4.7,-6.37), (5.71,-6.585,5.88,-5.875), (6.59,-6.585,6.76,-5.875), (7.59,-6.585,7.76,-5.875), (8.47,-6.585,8.64,-5.875), (4.53,-6.37,5.25,-6.2), (6.93,-6.37,7.26,-6.2), (6.05,-6.34,6.38,-6.045), (3.75,-5.875,9,-5.625)])
A(sc_dff_r, mcon, 4, -9.875, 0.17, 0.17, 10, 2, 0.5, 4)
R(sc_dff_r, mcon, [(4.16,-9.33,4.33,-9.16), (5.37,-9.33,5.54,-9.16), (7.17,-9.33,7.34,-9.16), (5.29,-8.655,5.46,-8.485), (7.25,-8.655,7.42,-8.485), (6.75,-8.28,6.92,-8.11), (4.5,-8.185,4.67,-8.015), (5.78,-7.91,5.95,-7.74), (6.25,-7.91,6.42,-7.74), (7.63,-7.91,7.8,-7.74), (4.16,-7.47,4.33,-7.3), (4.53,-7.2,4.7,-7.03), (5.37,-6.74,5.54,-6.57), (7.01,-6.37,7.18,-6.2), (6.13,-6.34,6.3,-6.17)])
A(sc_dff_r, met1_pin, 4.25, -8.25, 0.5, 0.5, 1, 3, 0, 0.75)
R(sc_dff_r, met1_pin, [(3.75,-10,4.25,-9.5), (8,-8.25,8.5,-7.75), (3.75,-6,4.25,-5.5)])
R(sc_dff_r, met1, [(3.75,-10,9,-9.5), (4.1,-9.36,7.4,-9.13), (4.71,-8.685,5.52,-8.455), (5.99,-8.685,7.48,-8.455), (8,-8.455,8.23,-8.25), (5.75,-8.31,6.98,-8.08), (4.25,-8.25,4.75,-7.75), (8,-8.25,8.5,-7.75), (5.75,-8.08,5.98,-7.68), (6.19,-7.94,7.86,-7.71), (8,-7.75,8.23,-7.505), (4.1,-7.5,4.75,-7.23), (4.1,-7.23,7.21,-7), (6.98,-7,7.21,-6.14), (5.34,-6.8,5.57,-6.37), (4.25,-6.75,4.75,-6.37), (4.25,-6.37,6.36,-6.14), (3.75,-6,9,-5.5)])
R(sc_dff_r, nsdm, [(6.145,-9.03,6.165,-8.33)])
R(sc_dff_r, psdm, [(7.385,-7.63,7.405,-6.48)])
R(sc_dff_r, npc, [(5.27,-9.565,5.64,-9.195), (7.07,-9.565,7.44,-9.195), (6.42,-9.365,6.79,-8.995), (7.29,-8.365,7.66,-8.14), (5.85,-8.35,6.22,-7.98), (4.4,-8.285,4.77,-7.915), (7.29,-8.14,8.06,-8.01), (7.29,-8.01,8.2,-7.995), (7.43,-7.995,8.2,-7.865), (7.83,-7.865,8.2,-7.64), (4.9,-6.47,5.27,-6.1), (6.91,-6.47,7.28,-6.1), (6.03,-6.315,6.4,-5.945)])
sc_dff_r.add(gdstk.Reference(c_sky130_fd_pr__nfet_01v8_____, (6.655,-8.68)))
sc_dff_r.add(gdstk.Reference(c_sky130_fd_pr__pfet_01v8_____, (6.015,-7.055), rotation=pi))
sc_dff_r.add(gdstk.Reference(sky130_fd_pr__nfet_01v8_, (0.265,-4.685)))
sc_dff_r.add(gdstk.Reference(sky130_fd_pr__pfet_01v8_, (0.5,-3.165)))
sc_dff_r.add(gdstk.Reference(c_sky130_fd_pr__nfet_01v8______, (7.455,-8.68)))
sc_dff_r.add(gdstk.Reference(c_sky130_fd_pr__nfet_01v8_______, (7.055,-8.68)))
sc_dff_r.add(gdstk.Reference(c_sky130_fd_pr__pfet_01v8______, (6.455,-7.055)))
sc_dff_r.add(gdstk.Reference(c_sky130_fd_pr__nfet_01v8________, (5.255,-8.68), rotation=pi))
sc_dff_r.add(gdstk.Reference(c_sky130_fd_pr__nfet_01v8_________, (5.655,-8.68), rotation=pi))
sc_dff_r.add(gdstk.Reference(c_sky130_fd_pr__pfet_01v8_______, (6.895,-7.055), rotation=pi))
sc_dff_r.add(gdstk.Reference(c_sky130_fd_pr__nfet_01v8__________, (4.815,-8.68)))
sc_dff_r.add(gdstk.Reference(c_sky130_fd_pr__pfet_01v8________, (5.175,-7.055)))
sc_dff_r.add(gdstk.Reference(c_sky130_fd_pr__pfet_01v8_________, (5.575,-7.055)))
sc_dff_r.add(gdstk.Label('rst_b', (4.5,-6.5), layer=68, texttype=5))
sc_dff_r.add(gdstk.Label('vdd', (4,-5.75), layer=68, texttype=5))
sc_dff_r.add(gdstk.Label('vss', (4,-9.75), layer=68, texttype=5))
sc_dff_r.add(gdstk.Label('d', (4.5,-8), layer=68, texttype=5))
sc_dff_r.add(gdstk.Label('clk', (4.5,-7.25), layer=68, texttype=5))
sc_dff_r.add(gdstk.Label('q', (8.25,-8), layer=68, texttype=5))

sc_body_conn = lib.new_cell('sc_body_conn')
R(sc_body_conn, nwell, [(-0.75,2.185,0,3.705)])
R(sc_body_conn, tap, [(-0.57,0.87,-0.18,1.77), (-0.57,2.495,-0.18,3.395)])
R(sc_body_conn, licon, [(-0.46,1.065,-0.29,1.235), (-0.46,1.405,-0.29,1.575), (-0.46,2.69,-0.29,2.86), (-0.46,3.03,-0.29,3.2)])
R(sc_body_conn, li1, [(-0.75,0.115,0,0.365), (-0.57,0.365,-0.18,1.73), (-0.57,2.535,-0.18,4.125), (-0.75,4.125,0,4.375)])
R(sc_body_conn, mcon, [(-0.5,0.125,-0.33,0.295), (-0.5,4.125,-0.33,4.295)])
R(sc_body_conn, met1_pin, [(-0.75,0,-0.25,0.5), (-0.75,4,-0.25,4.5)])
R(sc_body_conn, met1, [(-0.75,0,0,0.5), (-0.75,4,0,4.5)])
R(sc_body_conn, nsdm, [(-0.695,2.37,-0.055,3.52)])
R(sc_body_conn, psdm, [(-0.695,0.745,-0.055,1.895)])
sc_body_conn.add(gdstk.Label('vdd', (-0.5,4.25), layer=68, texttype=5))
sc_body_conn.add(gdstk.Label('vss', (-0.5,0.25), layer=68, texttype=5))

fd_mod_count = lib.new_cell('fd_mod_count')
R(fd_mod_count, met1_pin, [(7.5,-13.5,8,-13), (2.5,-12,3,-11.5), (12,-10.25,12.5,-9.75), (13.5,-10.25,14,-9.75), (3.25,-9.5,3.75,-9), (2.5,-8,3,-7.5), (2.25,-7.25,2.75,-6.75)])
R(fd_mod_count, met1, [(6.25,-13.5,8.75,-13), (2.5,-12.75,10.5,-12.25), (2,-12,3,-11.5), (2.5,-10.25,3,-9.75), (6.25,-10.25,6.75,-9.98), (8.25,-10.25,8.75,-9.98), (9,-10.25,9.5,-9.895), (12,-10.25,12.5,-9.75), (13.5,-10.25,14,-9.75), (6.25,-9.98,8.75,-9.75), (8.98,-9.895,10,-9.75), (8.98,-9.75,10.5,-9.665), (10,-9.665,10.5,-9.25), (2.5,-9.5,3.75,-9), (2.25,-8.75,3,-8.25), (2,-8,3,-7.5), (2.25,-7.25,2.75,-6.75)])
R(fd_mod_count, via, [(6.425,-13.325,6.575,-13.175), (8.425,-13.325,8.575,-13.175), (2.675,-12.575,2.825,-12.425), (9.175,-12.575,9.325,-12.425), (10.175,-12.575,10.325,-12.425), (2.675,-10.075,2.825,-9.925), (6.425,-10.075,6.575,-9.925), (8.425,-10.075,8.575,-9.925), (9.175,-10.075,9.325,-9.925), (10.175,-9.575,10.325,-9.425), (2.425,-8.575,2.575,-8.425), (2.425,-7.075,2.575,-6.925)])
R(fd_mod_count, met2, [(6.25,-13.5,6.75,-9.75), (8.25,-13.5,8.75,-9.75), (2.5,-12.75,3,-9.75), (9,-12.75,9.5,-9.75), (10,-12.75,10.5,-9.25), (2.25,-8.75,2.75,-6.75)])
fd_mod_count.add(gdstk.Reference(sc_xnor2, (9.25,-4)))
fd_mod_count.add(gdstk.Reference(sc_not, (5.25,-6)))
fd_mod_count.add(gdstk.Reference(sc_dff_r, (-1.75,-2)))
fd_mod_count.add(gdstk.Reference(sc_body_conn, (15,-12)))
fd_mod_count.add(gdstk.Reference(sc_body_conn, (8,-12)))
fd_mod_count.add(gdstk.Label('vdd', (2.75,-7.75), layer=68, texttype=5))
fd_mod_count.add(gdstk.Label('vss', (2.75,-11.75), layer=68, texttype=5))
fd_mod_count.add(gdstk.Label('vin', (3.5,-9.25), layer=68, texttype=5))
fd_mod_count.add(gdstk.Label('di_con', (12.25,-10), layer=68, texttype=5))
fd_mod_count.add(gdstk.Label('di_dsb_b', (2.5,-7), layer=68, texttype=5))
fd_mod_count.add(gdstk.Label('vout', (7.75,-13.25), layer=68, texttype=5))
fd_mod_count.add(gdstk.Label('do_rst_flag', (13.75,-10), layer=68, texttype=5))

lib.write_gds('fd_mod_count.gds')
